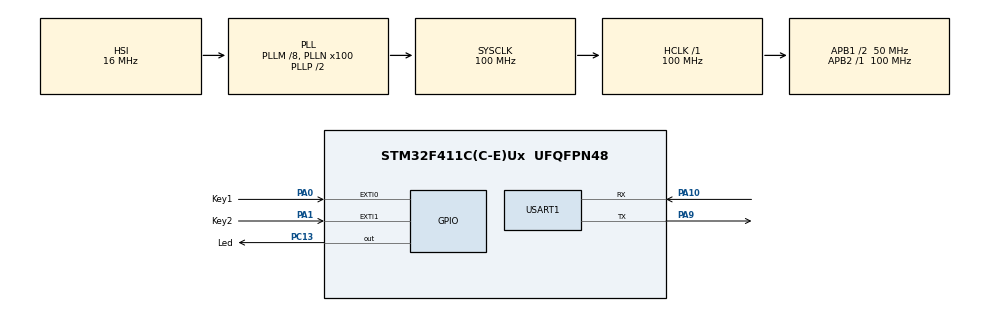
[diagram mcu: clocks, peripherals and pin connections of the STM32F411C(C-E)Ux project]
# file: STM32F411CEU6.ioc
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FREERTOS.Tasks01=defaultTask,24,128,StartDefaultTask,Default,NULL,Dynamic,NULL,NULL
Mcu.Family=STM32F4
Mcu.Name=STM32F411C(C-E)Ux
Mcu.Package=UFQFPN48
NVIC.EXTI0_IRQn=true\:5\:0\:false\:false\:true\:true\:true\:true\:true
NVIC.EXTI1_IRQn=true\:5\:0\:false\:false\:true\:true\:true\:true\:true
NVIC.PriorityGroup=NVIC_PRIORITYGROUP_4
NVIC.TIM1_UP_TIM10_IRQn=true\:15\:0\:false\:false\:true\:false\:false\:true\:true
NVIC.TIM2_IRQn=true\:5\:0\:false\:false\:true\:true\:true\:true\:true
NVIC.TimeBase=TIM1_UP_TIM10_IRQn
NVIC.TimeBaseIP=TIM1
PA0-WKUP.GPIO_Label=Key1
PA0-WKUP.GPIO_ModeDefaultEXTI=GPIO_MODE_IT_FALLING
PA0-WKUP.GPIO_PuPd=GPIO_PULLUP
PA0-WKUP.Signal=GPXTI0
PA1.GPIO_Label=Key2
PA1.GPIO_ModeDefaultEXTI=GPIO_MODE_IT_FALLING
PA1.GPIO_PuPd=GPIO_PULLUP
PA1.Signal=GPXTI1
PA10.Mode=Asynchronous
PA10.Signal=USART1_RX
PA13.Mode=Trace_Asynchronous_SW
PA13.Signal=SYS_JTMS-SWDIO
PA14.Mode=Trace_Asynchronous_SW
PA14.Signal=SYS_JTCK-SWCLK
PA9.Mode=Asynchronous
PA9.Signal=USART1_TX
PB3.Mode=Trace_Asynchronous_SW
PB3.Signal=SYS_JTDO-SWO
PC13-ANTI_TAMP.GPIO_Label=Led
PC13-ANTI_TAMP.PinState=GPIO_PIN_RESET
PC13-ANTI_TAMP.Signal=GPIO_Output
ProjectManager.HeapSize=0x200
ProjectManager.StackSize=0x400
ProjectManager.TargetToolchain=MDK-ARM V5
RCC.48MHZClocksFreq_Value=50000000
RCC.AHBFreq_Value=100000000
RCC.APB1CLKDivider=RCC_HCLK_DIV2
RCC.APB1Freq_Value=50000000
RCC.APB1TimFreq_Value=100000000
RCC.APB2Freq_Value=100000000
RCC.APB2TimFreq_Value=100000000
RCC.CortexFreq_Value=100000000
RCC.HCLKFreq_Value=100000000
RCC.HSE_VALUE=25000000
RCC.HSI_VALUE=16000000
RCC.LSE_VALUE=32768
RCC.PLLM=8
RCC.PLLN=100
RCC.SYSCLKFreq_VALUE=100000000
RCC.SYSCLKSource=RCC_SYSCLKSOURCE_PLLCLK
RCC.VCOOutputFreq_Value=200000000
TIM2.AutoReloadPreload=TIM_AUTORELOAD_PRELOAD_ENABLE
TIM2.Period=1000-1
TIM2.Prescaler=10000-1
USART1.VirtualMode=VM_ASYNC
VP_FREERTOS_VS_CMSIS_V2.Mode=CMSIS_V2
VP_SYS_VS_tim1.Mode=TIM1
VP_TIM2_VS_ClockSourceINT.Mode=Internal
board=custom

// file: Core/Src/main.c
/* USER CODE BEGIN Header */
/**
  ******************************************************************************
  * @file           : main.c
  * @brief          : Main program body
  ******************************************************************************
  * @attention
  *
  * Copyright (c) 2025 STMicroelectronics.
  * All rights reserved.
  *
  * This software is licensed under terms that can be found in the LICENSE file
  * in the root directory of this software component.
  * If no LICENSE file comes with this software, it is provided AS-IS.
  *
  ******************************************************************************
  */
/* USER CODE END Header */
#include "main.h"
#include "cmsis_os.h"
#include "tim.h"
#include "usart.h"
#include "gpio.h"

/* USER CODE BEGIN Includes */
#include <stdio.h>
#include <stdlib.h>
#include "bsp_led.h"
/* USER CODE END Includes */

void SystemClock_Config(void);
void MX_FREERTOS_Init(void);

int main(void)
{

  /* MCU Configuration--------------------------------------------------------*/

  /* Reset of all peripherals, Initializes the Flash interface and the Systick. */
  HAL_Init();

  /* Configure the system clock */
  SystemClock_Config();

  /* Initialize all configured peripherals */
  MX_GPIO_Init();
  MX_USART1_UART_Init();
  MX_TIM2_Init();
  /* USER CODE BEGIN 2 */
  HAL_TIM_Base_Start_IT(&htim2);
  /* USER CODE END 2 */

  /* Init scheduler */
  osKernelInitialize();  /* Call init function for freertos objects (in cmsis_os2.c) */
  MX_FREERTOS_Init();

  /* Start scheduler */
  osKernelStart();

  /* We should never get here as control is now taken by the scheduler */

  /* Infinite loop */
  while (1)
  {

  }
}

void SystemClock_Config(void)
{
  RCC_OscInitTypeDef RCC_OscInitStruct = {0};
  RCC_ClkInitTypeDef RCC_ClkInitStruct = {0};

  /** Configure the main internal regulator output voltage
  */
  __HAL_RCC_PWR_CLK_ENABLE();
  __HAL_PWR_VOLTAGESCALING_CONFIG(PWR_REGULATOR_VOLTAGE_SCALE1);

  /** Initializes the RCC Oscillators according to the specified parameters
  * in the RCC_OscInitTypeDef structure.
  */
  RCC_OscInitStruct.OscillatorType = RCC_OSCILLATORTYPE_HSI;
  RCC_OscInitStruct.HSIState = RCC_HSI_ON;
  RCC_OscInitStruct.HSICalibrationValue = RCC_HSICALIBRATION_DEFAULT;
  RCC_OscInitStruct.PLL.PLLState = RCC_PLL_ON;
  RCC_OscInitStruct.PLL.PLLSource = RCC_PLLSOURCE_HSI;
  RCC_OscInitStruct.PLL.PLLM = 8;
  RCC_OscInitStruct.PLL.PLLN = 100;
  RCC_OscInitStruct.PLL.PLLP = RCC_PLLP_DIV2;
  RCC_OscInitStruct.PLL.PLLQ = 4;
  if (HAL_RCC_OscConfig(&RCC_OscInitStruct) != HAL_OK)
  {
    Error_Handler();
  }

  /** Initializes the CPU, AHB and APB buses clocks
  */
  RCC_ClkInitStruct.ClockType = RCC_CLOCKTYPE_HCLK|RCC_CLOCKTYPE_SYSCLK
                              |RCC_CLOCKTYPE_PCLK1|RCC_CLOCKTYPE_PCLK2;
  RCC_ClkInitStruct.SYSCLKSource = RCC_SYSCLKSOURCE_PLLCLK;
  RCC_ClkInitStruct.AHBCLKDivider = RCC_SYSCLK_DIV1;
  RCC_ClkInitStruct.APB1CLKDivider = RCC_HCLK_DIV2;
  RCC_ClkInitStruct.APB2CLKDivider = RCC_HCLK_DIV1;

  if (HAL_RCC_ClockConfig(&RCC_ClkInitStruct, FLASH_LATENCY_3) != HAL_OK)
  {
    Error_Handler();
  }
}

void HAL_TIM_PeriodElapsedCallback(TIM_HandleTypeDef *htim)
{
  if (htim->Instance == TIM1)
  {
    HAL_IncTick();
  }
  /* USER CODE BEGIN Callback 1 */
  else if (htim->Instance == TIM2)
  {
      led_timer_callback();
  }
  /* USER CODE END Callback 1 */
}

void Error_Handler(void)
{
  __disable_irq();
  while (1)
  {
  }
}

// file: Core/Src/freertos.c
/* USER CODE BEGIN Header */
/**
  ******************************************************************************
  * File Name          : freertos.c
  * Description        : Code for freertos applications
  ******************************************************************************
  * @attention
  *
  * Copyright (c) 2026 STMicroelectronics.
  * All rights reserved.
  *
  * This software is licensed under terms that can be found in the LICENSE file
  * in the root directory of this software component.
  * If no LICENSE file comes with this software, it is provided AS-IS.
  *
  ******************************************************************************
  */
/* USER CODE END Header */

#include "FreeRTOS.h"
#include "task.h"
#include "main.h"
#include "cmsis_os.h"

/* USER CODE BEGIN Includes */
#include <stdio.h>
#include "usart.h"
#include "bsp_key.h"
#include "bsp_led.h"

/* USER CODE END Includes */

/* Definitions for defaultTask */
osThreadId_t defaultTaskHandle;
const osThreadAttr_t defaultTask_attributes = {
  .name = "defaultTask",
  .stack_size = 128 * 4,
  .priority = (osPriority_t) osPriorityNormal,
};

void StartDefaultTask(void *argument);

void MX_FREERTOS_Init(void); /* (MISRA C 2004 rule 8.1) */

void MX_FREERTOS_Init(void) {

  /* USER CODE BEGIN RTOS_QUEUES */
  /* add queues, ... */
    if (pdPASS != key_init())
    {
    Error_Handler();
    }

    if (pdPASS != led_init())
    {
        Error_Handler();
    }
  /* USER CODE END RTOS_QUEUES */

  /* Create the thread(s) */
  /* creation of defaultTask */
  defaultTaskHandle = osThreadNew(StartDefaultTask, NULL, &defaultTask_attributes);

  /* USER CODE BEGIN RTOS_THREADS */
  /* add threads, ... */
    key_task_handle = osThreadNew(key_task_entry,
                                  NULL,
                                  &key_task_attributes);
    led_task_handle = osThreadNew(led_task_entry,
                                  NULL,
                                  &led_task_attributes);

  /* USER CODE END RTOS_THREADS */

}

void StartDefaultTask(void *argument)
{
  /* USER CODE BEGIN StartDefaultTask */

  /* Local variables. */
  key_event_t received_key_event    = KEY_EVENT_NONE;
  uint8_t       led_command         = 0;

  /* Task loop. */
  for (;;)
    {
        // printf("DFT thread test\r\n");

        // 0. Wait until both queues are ready.
        if ((NULL != g_key_queue) && (NULL != g_led_queue))
        {
            // 1. Receive a key event from the key task.
            if (pdPASS == xQueueReceive(g_key_queue,
                                        &received_key_event,
                                        portMAX_DELAY))
            {
                switch (received_key_event)
                {
                    // 2. Map a short press to one timer-driven LED toggle.
                    case KEY_EVENT_SHORT_PRESS:
                    {
                        led_command = 1;

                        // 2.1 Forward the LED command to the LED task.
                        if (pdPASS != xQueueSend(g_led_queue,
                                                &led_command,
                                                0))
                        {
                            printf("[E][RELAY] LED command send failed.\r\n");
                        }
                        break;
                    }

                    // // 3. Map a long press to 20 timer-driven LED toggles.
                    case KEY_EVENT_LONG_PRESS:
                    {
                        led_command = 20;

                        // 3.1 Forward the LED command to the LED task.
                        if (pdPASS != xQueueSend(g_led_queue,
                                                &led_command,
                                                0))
                        {
                            printf("[E][RELAY] LED command send failed.\r\n");
                        }
                        break;
                    }

                    // 4. Report an unexpected key-event value.
                    default:
                    {
                        printf("[E][RELAY] Invalid key event: %d\r\n",
                               (int)received_key_event);
                        break;
                    }
                }
            }
        }
  }
  /* USER CODE END StartDefaultTask */
}
